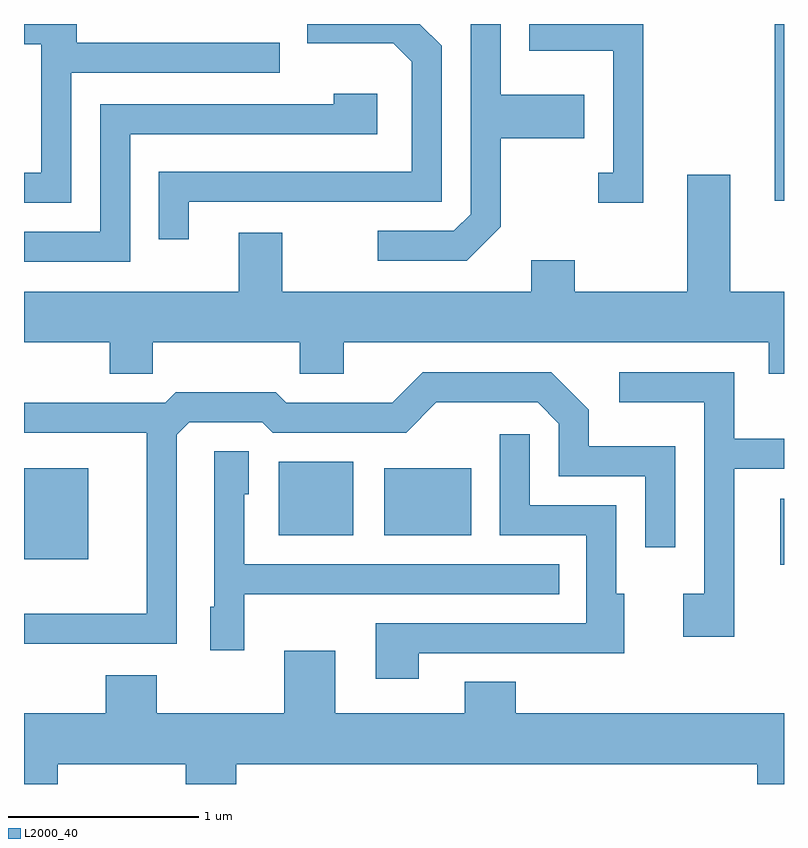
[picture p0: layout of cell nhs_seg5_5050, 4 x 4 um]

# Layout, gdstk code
import gdstk
lib = gdstk.Library(unit=1e-6, precision=1e-09)
def R(c, l, rs):  # rectangles x0, y0, x1, y1
    for r in rs: c.add(gdstk.rectangle(r[:2], r[2:], *l))
def P(c, l, *ps):  # polygons
    for p in ps: c.add(gdstk.Polygon(p, *l))
L2000_40 = (2000, 40)

nhs_seg5_5050 = lib.new_cell('nhs_seg5_5050')
R(nhs_seg5_5050, L2000_40, [(339.591,1411.226,339.611,1411.574), (335.611,1411.256,335.949,1411.734), (336.951,1411.381,337.344,1411.769), (337.506,1411.381,337.964,1411.734), (339.561,1413.141,339.611,1414.072)])
P(nhs_seg5_5050, L2000_40, [(338.119,1413.004),(338.119,1413.471),(338.559,1413.471),(338.559,1413.699),(338.119,1413.699),(338.119,1414.072),(337.961,1414.072),(337.961,1413.072),(337.874,1412.984),(337.473,1412.984),(337.473,1412.826),(337.942,1412.826)],
  [(338.869,1414.072),(338.271,1414.072),(338.271,1413.931),(338.711,1413.931),(338.711,1413.289),(338.633,1413.289),(338.633,1413.131),(338.869,1413.131)],
  [(335.859,1413.816),(336.958,1413.816),(336.958,1413.974),(335.889,1413.974),(335.889,1414.072),(335.611,1414.072),(335.611,1413.966),(335.701,1413.966),(335.701,1413.289),(335.611,1413.289),(335.611,1413.131),(335.859,1413.131)],
  [(336.479,1413.136),(337.809,1413.136),(337.809,1413.957),(337.694,1414.072),(337.101,1414.072),(337.101,1413.971),(337.554,1413.971),(337.651,1413.874),(337.651,1413.294),(336.321,1413.294),(336.321,1412.938),(336.479,1412.938)],
  [(336.169,1413.491),(337.469,1413.491),(337.469,1413.704),(337.241,1413.704),(337.241,1413.649),(336.011,1413.649),(336.011,1412.979),(335.611,1412.979),(335.611,1412.821),(336.169,1412.821)],
  [(336.289,1412.396),(337.061,1412.396),(337.061,1412.231),(337.294,1412.231),(337.294,1412.396),(339.531,1412.396),(339.531,1412.231),(339.611,1412.231),(339.611,1412.664),(339.329,1412.664),(339.329,1413.279),(339.101,1413.279),(339.101,1412.664),(338.509,1412.664),(338.509,1412.829),(338.281,1412.829),(338.281,1412.664),(336.969,1412.664),(336.969,1412.974),(336.741,1412.974),(336.741,1412.664),(335.611,1412.664),(335.611,1412.396),(336.061,1412.396),(336.061,1412.231),(336.289,1412.231)],
  [(339.349,1411.731),(339.611,1411.731),(339.611,1411.889),(339.349,1411.889),(339.349,1412.239),(338.743,1412.239),(338.743,1412.081),(339.191,1412.081),(339.191,1411.074),(339.081,1411.074),(339.081,1410.846),(339.349,1410.846)],
  [(336.414,1411.909),(336.482,1411.976),(336.864,1411.976),(336.919,1411.921),(337.622,1411.921),(337.782,1412.081),(338.314,1412.081),(338.426,1411.969),(338.426,1411.691),(338.881,1411.691),(338.881,1411.318),(339.039,1411.318),(339.039,1411.849),(338.584,1411.849),(338.584,1412.042),(338.387,1412.239),(337.709,1412.239),(337.549,1412.079),(336.992,1412.079),(336.937,1412.134),(336.409,1412.134),(336.354,1412.079),(335.611,1412.079),(335.611,1411.921),(336.256,1411.921),(336.256,1410.969),(335.611,1410.969),(335.611,1410.811),(336.414,1410.811)],
  [(337.689,1410.761),(338.769,1410.761),(338.769,1411.074),(338.729,1411.074),(338.729,1411.539),(338.274,1411.539),(338.274,1411.913),(338.116,1411.913),(338.116,1411.381),(338.571,1411.381),(338.571,1410.919),(337.461,1410.919),(337.461,1410.626),(337.689,1410.626)],
  [(336.769,1411.071),(338.428,1411.071),(338.428,1411.229),(336.769,1411.229),(336.769,1411.596),(336.794,1411.596),(336.794,1411.824),(336.611,1411.824),(336.611,1411.004),(336.591,1411.004),(336.591,1410.776),(336.769,1410.776)],
  [(335.789,1410.176),(336.461,1410.176),(336.461,1410.072),(336.729,1410.072),(336.729,1410.176),(339.471,1410.176),(339.471,1410.072),(339.611,1410.072),(339.611,1410.444),(338.199,1410.444),(338.199,1410.609),(337.931,1410.609),(337.931,1410.444),(337.249,1410.444),(337.249,1410.774),(336.981,1410.774),(336.981,1410.444),(336.309,1410.444),(336.309,1410.644),(336.041,1410.644),(336.041,1410.444),(335.611,1410.444),(335.611,1410.072),(335.789,1410.072)])

lib.write_gds('nhs_seg5_5050.gds')
